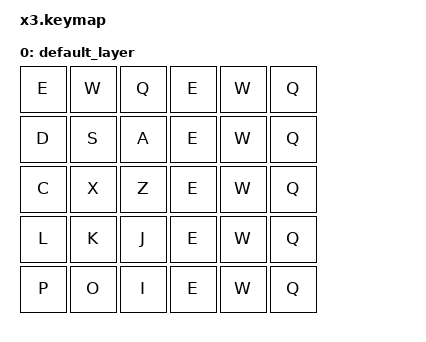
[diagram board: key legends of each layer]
// This file was generated from a template. Edit it to match your keyboard.
// See https://zmk.dev/docs/development/hardware-integration/new-shield for more instructions.

#include <behaviors.dtsi>
#include <dt-bindings/zmk/keys.h>

/ {
    // Define a default keymap here.
    // See https://zmk.dev/docs/development/hardware-integration/new-shield#default-keymap.
    keymap {
        compatible = "zmk,keymap";

        default_layer {
            bindings = <
                &kp E &kp W &kp Q &kp E &kp W &kp Q
                &kp D &kp S &kp A &kp E &kp W &kp Q
                &kp C &kp X &kp Z &kp E &kp W &kp Q
                &kp L &kp K &kp J &kp E &kp W &kp Q
                &kp P &kp O &kp I &kp E &kp W &kp Q
            >;
        };
    };
};
